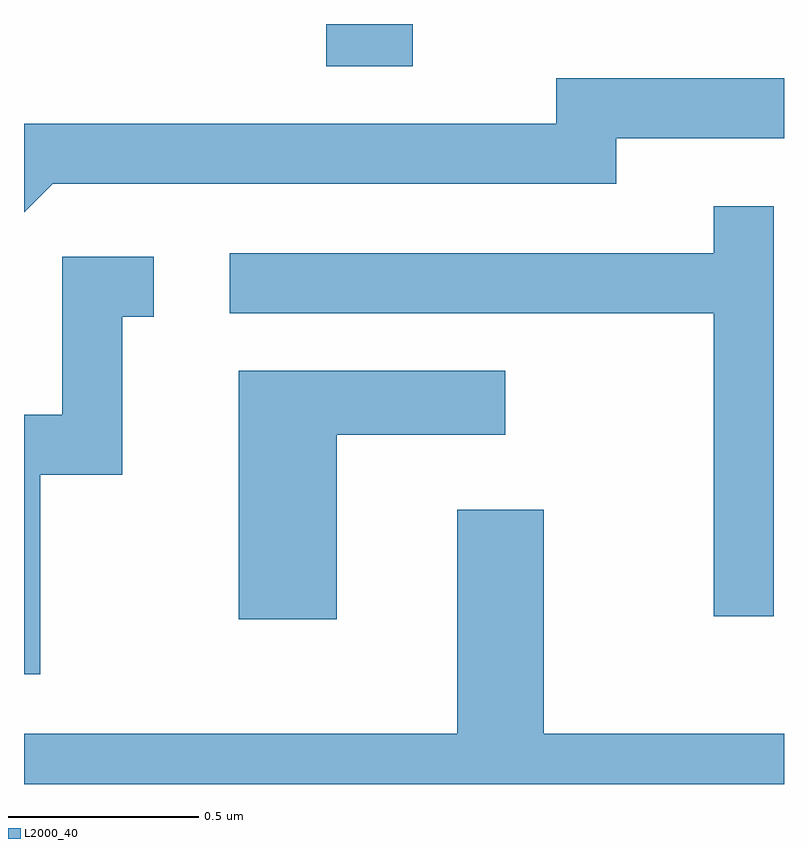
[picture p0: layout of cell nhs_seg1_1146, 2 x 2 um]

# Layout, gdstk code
import gdstk
lib = gdstk.Library(unit=1e-6, precision=1e-09)
def R(c, l, rs):  # rectangles x0, y0, x1, y1
    for r in rs: c.add(gdstk.rectangle(r[:2], r[2:], *l))
def P(c, l, *ps):  # polygons
    for p in ps: c.add(gdstk.Polygon(p, *l))
L2000_40 = (2000, 40)

nhs_seg1_1146 = lib.new_cell('nhs_seg1_1146')
R(nhs_seg1_1146, L2000_40, [(194.406,901.601,194.634,901.712)])
P(nhs_seg1_1146, L2000_40, [(193.687,901.291),(195.169,901.291),(195.169,901.411),(195.611,901.411),(195.611,901.569),(195.011,901.569),(195.011,901.449),(193.611,901.449),(193.611,901.216)],
  [(195.584,901.233),(195.426,901.233),(195.426,901.109),(194.153,901.109),(194.153,900.951),(195.426,900.951),(195.426,900.153),(195.584,900.153)],
  [(193.654,900.526),(193.869,900.526),(193.869,900.941),(193.953,900.941),(193.953,901.099),(193.711,901.099),(193.711,900.684),(193.611,900.684),(193.611,900.001),(193.654,900.001)],
  [(194.434,900.631),(194.878,900.631),(194.878,900.799),(194.176,900.799),(194.176,900.146),(194.434,900.146)],
  [(195.611,899.844),(194.979,899.844),(194.979,900.434),(194.751,900.434),(194.751,899.844),(193.611,899.844),(193.611,899.712),(195.611,899.712)])

lib.write_gds('nhs_seg1_1146.gds')
